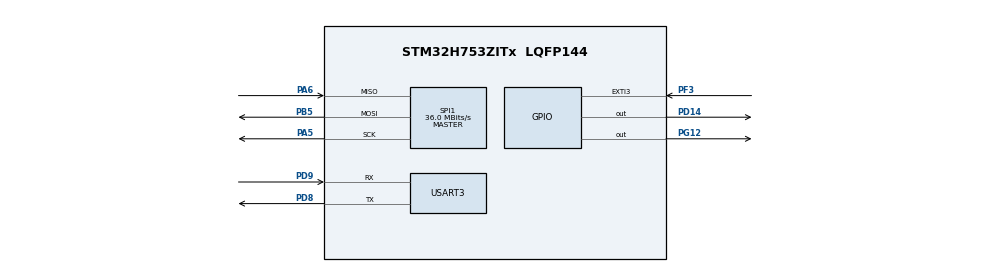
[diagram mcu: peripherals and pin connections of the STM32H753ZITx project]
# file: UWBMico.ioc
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CORTEX_M7.CPU_DCache=Disabled
CORTEX_M7.CPU_ICache=Disabled
CORTEX_M7.MPU_Control=MPU_PRIVILEGED_DEFAULT
CORTEX_M7.default_mode_Activation=1
Mcu.Family=STM32H7
Mcu.Name=STM32H753ZITx
Mcu.Package=LQFP144
NVIC.EXTI3_IRQn=true\:0\:0\:false\:false\:true\:true\:true\:true
NVIC.PriorityGroup=NVIC_PRIORITYGROUP_4
PA13\ (JTMS/SWDIO).Mode=Serial_Wire
PA13\ (JTMS/SWDIO).Signal=DEBUG_JTMS-SWDIO
PA14\ (JTCK/SWCLK).Mode=Serial_Wire
PA14\ (JTCK/SWCLK).Signal=DEBUG_JTCK-SWCLK
PA5.GPIO_Speed=GPIO_SPEED_FREQ_VERY_HIGH
PA5.Mode=Full_Duplex_Master
PA5.Signal=SPI1_SCK
PA6.GPIO_Speed=GPIO_SPEED_FREQ_VERY_HIGH
PA6.Mode=Full_Duplex_Master
PA6.Signal=SPI1_MISO
PB5.GPIO_Speed=GPIO_SPEED_FREQ_VERY_HIGH
PB5.Mode=Full_Duplex_Master
PB5.Signal=SPI1_MOSI
PD14.GPIO_Speed=GPIO_SPEED_FREQ_VERY_HIGH
PD14.PinState=GPIO_PIN_SET
PD14.Signal=GPIO_Output
PD8.Mode=Asynchronous
PD8.Signal=USART3_TX
PD9.Mode=Asynchronous
PD9.Signal=USART3_RX
PF3.GPIO_PuPd=GPIO_PULLDOWN
PF3.Signal=GPXTI3
PG12.GPIO_ModeDefaultOutputPP=GPIO_MODE_OUTPUT_OD
PG12.GPIO_PuPd=GPIO_NOPULL
PG12.GPIO_Speed=GPIO_SPEED_FREQ_VERY_HIGH
PG12.PinState=GPIO_PIN_SET
PG12.Signal=GPIO_Output
ProjectManager.HeapSize=0x200
ProjectManager.StackSize=0x400
ProjectManager.TargetToolchain=CMake
RCC.ADCFreq_Value=144000000
RCC.APB1Freq_Value=120000000
RCC.APB2Freq_Value=120000000
RCC.APB3Freq_Value=120000000
RCC.APB4Freq_Value=120000000
RCC.CortexFreq_Value=480000000
RCC.D1PPRE=RCC_APB3_DIV2
RCC.D2PPRE1=RCC_APB1_DIV2
RCC.D2PPRE2=RCC_APB2_DIV2
RCC.D3PPRE=RCC_APB4_DIV2
RCC.DIVM1=4
RCC.DIVN1=60
RCC.DIVN2=144
RCC.HCLKFreq_Value=240000000
RCC.HPRE=RCC_HCLK_DIV2
RCC.HSE_VALUE=8000000
RCC.PLL2FRACN=0
RCC.PLL3FRACN=0
RCC.PLLFRACN=0
RCC.PWR_Regulator_Voltage_Scale=PWR_REGULATOR_VOLTAGE_SCALE0
RCC.SPI123CLockSelection=RCC_SPI123CLKSOURCE_PLL2
RCC.SYSCLKFreq_VALUE=480000000
RCC.SYSCLKSource=RCC_SYSCLKSOURCE_PLLCLK
RCC.USBFreq_Value=480000000
SPI1.BaudRatePrescaler=SPI_BAUDRATEPRESCALER_4
SPI1.CalculateBaudRate=36.0 MBits/s
SPI1.DataSize=SPI_DATASIZE_8BIT
SPI1.Direction=SPI_DIRECTION_2LINES
SPI1.Mode=SPI_MODE_MASTER
SPI1.VirtualType=VM_MASTER
TIM1.AutoReloadPreload=TIM_AUTORELOAD_PRELOAD_ENABLE
TIM1.Prescaler=239
USART3.VirtualMode-Asynchronous=VM_ASYNC
VP_MEMORYMAP_VS_MEMORYMAP.Mode=CurAppReg
VP_TIM1_VS_ClockSourceINT.Mode=Internal
board=NUCLEO-H753ZI

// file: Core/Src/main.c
/* USER CODE BEGIN Header */
/**
 ******************************************************************************
 * @file           : main.c
 * @brief          : Main program body
 ******************************************************************************
 * @attention
 *
 * Copyright (c) 2026 STMicroelectronics.
 * All rights reserved.
 *
 * This software is licensed under terms that can be found in the LICENSE file
 * in the root directory of this software component.
 * If no LICENSE file comes with this software, it is provided AS-IS.
 *
 ******************************************************************************
 */
/* USER CODE END Header */
#include "main.h"

/* USER CODE BEGIN Includes */
#include "examples_defines.h"
#include "port.h"
#include "deca_probe_interface.h"
#include <deca_device_api.h>
#include <deca_spi.h>
#include <example_selection.h>
#include <port.h>
#include <stdio.h>
#include <meins.h>

/* USER CODE END Includes */

/* USER CODE BEGIN PV */
#if defined(APP_UWB_ROLE_INITIATOR)
static uint8_t tag = 1; //1 = INITIATOR, 0 = RESPONDER
#else
static uint8_t tag = 0; //1 = INITIATOR, 0 = RESPONDER
#endif

dwt_config_t config =
{
    // 5,                  // Channel 5
    // DWT_PLEN_128,       // Preamble length
    // DWT_PAC8,           // PAC size
    // 9,                  // TX preamble code
    // 9,                  // RX preamble code
    // DWT_SFD_IEEE_4A,    // IEEE 802.15.4-2003 SFD
    // DWT_BR_6M8,         // 6.8 Mbps
    // DWT_PHRMODE_STD,    // Standard PHR
    // DWT_PHRRATE_STD,    // Standard PHR rate
    // 129,                // SFD timeout
    // DWT_STS_MODE_OFF,   // STS disabled
    // DWT_STS_LEN_64,     // STS length (unused)
    // DWT_PDOA_M0         // PDOA disabled

    5,                 /* Channel number. */
    DWT_PLEN_128,      /* Preamble length. Used in TX only. */
    DWT_PAC8,          /* Preamble acquisition chunk size. Used in RX only. */
    9,                 /* TX preamble code. Used in TX only. */
    9,                 /* RX preamble code. Used in RX only. */
    1,                 /* 0 to use standard 8 symbol SFD, 1 to use non-standard 8 symbol, 2 for non-standard 16 symbol SFD and 3 for 4z 8 symbol SDF type */
    DWT_BR_6M8,        /* Data rate. */
    DWT_PHRMODE_STD,   /* PHY header mode. */
    DWT_PHRRATE_STD,   /* PHY header rate. */
    (128 + 1 + 8 - 8), /* SFD timeout (preamble length + 1 + SFD length - PAC size). Used in RX only. */
    DWT_STS_MODE_OFF,  /* No STS mode enabled (STS Mode 0) */
    DWT_STS_LEN_64,    /* (STS length  in blocks of 8) - 1*/
    DWT_PDOA_M0        /* PDOA mode off */
};

dwt_txconfig_t txconfig_options = {
    0x34,       /* PG delay. */
    0xfdfdfdfd, /* TX power. */
    0x0         /*PG count*/
};
/* USER CODE END PV */

void SystemClock_Config(void);
void PeriphCommonClock_Config(void);
static void MPU_Config(void);
static void MX_GPIO_Init(void);
static void MX_SPI1_Init(void);
static void MX_TIM1_Init(void);
static void MX_USART3_UART_Init(void);
/* USER CODE BEGIN PFP */
void send_ranging(void);
void receive_ranging(void);
void waitforsysstatus(uint32_t *lo_result, uint32_t *hi_result, uint32_t lo_mask, uint32_t hi_mask);
uint64_t timestamp_to_64bit(uint8_t *timestamp);
/* USER CODE END PFP */

int main(void)
{

  /* MPU Configuration--------------------------------------------------------*/
  MPU_Config();

  /* MCU Configuration--------------------------------------------------------*/

  /* Reset of all peripherals, Initializes the Flash interface and the Systick. */
  LL_APB4_GRP1_EnableClock(LL_APB4_GRP1_PERIPH_SYSCFG);

  /* System interrupt init*/
  NVIC_SetPriorityGrouping(NVIC_PRIORITYGROUP_4);

  /* USER CODE BEGIN Init */
  //build_examples();

  /* USER CODE END Init */

  /* Configure the system clock */
  SystemClock_Config();

  /* Configure the peripherals common clocks */
  PeriphCommonClock_Config();

  /* Initialize all configured peripherals */
  MX_GPIO_Init();
  MX_SPI1_Init();
  MX_TIM1_Init();
  MX_USART3_UART_Init();
  /* USER CODE BEGIN 2 */
  LL_SPI_Enable(SPI1);

  while(!LL_SPI_IsEnabled(SPI1))
  {
    //wait until SPI is enabled
  }
  LL_TIM_EnableCounter(TIM1);
  //LL_SPI_StartMasterTransfer(SPI1); // KI sagt dass der besser in der write und read funktion gestartet wird.
  reset_DWIC();
  Sleep(2U);
  port_set_dw_ic_spi_slowrate();
  if(dwt_probe(&dw3000_probe_interf) != DWT_SUCCESS)
  {
    Error_Handler();
  }
  while (dwt_checkidlerc() == 0)
  {
    //wait until the device is in IDLE_RC state
  }
  if (dwt_initialise(DWT_READ_OTP_ALL) == DWT_ERROR)
{
    Error_Handler();
}

  if (dwt_configure(&config) == DWT_ERROR)
{
    Error_Handler();
}
  dwt_setleds(DWT_LEDS_ENABLE | DWT_LEDS_INIT_BLINK);
  dwt_configuretxrf(&txconfig_options);
  dwt_setrxantennadelay(16385);
  dwt_settxantennadelay(16385);
  dwt_setrxaftertxdelay(240);
  dwt_setrxtimeout(400);
  dwt_setlnapamode(DWT_LNA_ENABLE);
  //port_set_dw_ic_spi_fastrate();
  //example_pointer();

  /* USER CODE END 2 */

  /* Infinite loop */
  /* USER CODE BEGIN WHILE */
  while (1)
  {
    //static uint8_t tx_poll_msg[] = { 0x41, 0x88, 0, 0xCA, 0xDE, 'W', 'A', 'V', 'E', 0xE0, 0, 0 };
    uint16_t time = 12345;
    char buffer[10];

    sprintf(buffer, "%u\r\n", time);

    for (int i = 0; buffer[i] != '\0'; i++)
    {
        while (!LL_USART_IsActiveFlag_TXE_TXFNF(USART3))
        {
            // Wait for transmit FIFO to be ready
        }

        LL_USART_TransmitData8(USART3, buffer[i]);
    }

    while (!LL_USART_IsActiveFlag_TC(USART3))
    {
        // Wait until the last stop bit has been transmitted
    }

    Sleep(1000U);

    // dwt_writesysstatuslo(DWT_INT_TXFRS_BIT_MASK);
    // //Sleep(100U);
    // dwt_writetxdata(sizeof(tx_poll_msg), tx_poll_msg, 0);
    // //Sleep(100U);
    // dwt_writetxfctrl(sizeof(tx_poll_msg), 0, 1);
    // dwt_starttx(DWT_START_TX_IMMEDIATE);
    // Sleep(100U);

    // if(tag==1){
    //   send_ranging();
    // }
    // else{
    //   receive_ranging();
    // }

    /* USER CODE END WHILE */

  }
}

void SystemClock_Config(void)
{
  LL_FLASH_SetLatency(LL_FLASH_LATENCY_4);
  while(LL_FLASH_GetLatency()!= LL_FLASH_LATENCY_4)
  {
  }
  LL_PWR_ConfigSupply(LL_PWR_LDO_SUPPLY);
  LL_PWR_SetRegulVoltageScaling(LL_PWR_REGU_VOLTAGE_SCALE0);
  while (LL_PWR_IsActiveFlag_VOS() == 0)
  {
  }
  LL_RCC_HSI_Enable();

   /* Wait till HSI is ready */
  while(LL_RCC_HSI_IsReady() != 1)
  {

  }
  LL_RCC_HSI_SetCalibTrimming(64);
  LL_RCC_HSI_SetDivider(LL_RCC_HSI_DIV1);
  LL_RCC_PLL_SetSource(LL_RCC_PLLSOURCE_HSI);
  LL_RCC_PLL1P_Enable();
  LL_RCC_PLL1R_Enable();
  LL_RCC_PLL1_SetVCOInputRange(LL_RCC_PLLINPUTRANGE_8_16);
  LL_RCC_PLL1_SetVCOOutputRange(LL_RCC_PLLVCORANGE_WIDE);
  LL_RCC_PLL1_SetM(4);
  LL_RCC_PLL1_SetN(60);
  LL_RCC_PLL1_SetP(2);
  LL_RCC_PLL1_SetQ(2);
  LL_RCC_PLL1_SetR(2);
  LL_RCC_PLL1_Enable();

   /* Wait till PLL is ready */
  while(LL_RCC_PLL1_IsReady() != 1)
  {
  }

   /* Intermediate AHB prescaler 2 when target frequency clock is higher than 80 MHz */
   LL_RCC_SetAHBPrescaler(LL_RCC_AHB_DIV_2);

  LL_RCC_SetSysClkSource(LL_RCC_SYS_CLKSOURCE_PLL1);

   /* Wait till System clock is ready */
  while(LL_RCC_GetSysClkSource() != LL_RCC_SYS_CLKSOURCE_STATUS_PLL1)
  {

  }
  LL_RCC_SetSysPrescaler(LL_RCC_SYSCLK_DIV_1);
  LL_RCC_SetAHBPrescaler(LL_RCC_AHB_DIV_2);
  LL_RCC_SetAPB1Prescaler(LL_RCC_APB1_DIV_2);
  LL_RCC_SetAPB2Prescaler(LL_RCC_APB2_DIV_2);
  LL_RCC_SetAPB3Prescaler(LL_RCC_APB3_DIV_2);
  LL_RCC_SetAPB4Prescaler(LL_RCC_APB4_DIV_2);

  LL_Init1msTick(480000000);

  LL_SetSystemCoreClock(480000000);
}

void PeriphCommonClock_Config(void)
{
  LL_RCC_PLL2P_Enable();
  LL_RCC_PLL2_SetVCOInputRange(LL_RCC_PLLINPUTRANGE_2_4);
  LL_RCC_PLL2_SetVCOOutputRange(LL_RCC_PLLVCORANGE_WIDE);
  LL_RCC_PLL2_SetM(32);
  LL_RCC_PLL2_SetN(144);
  LL_RCC_PLL2_SetP(2);
  LL_RCC_PLL2_SetQ(2);
  LL_RCC_PLL2_SetR(2);
  LL_RCC_PLL2_Enable();

   /* Wait till PLL is ready */
  while(LL_RCC_PLL2_IsReady() != 1)
  {
  }

}

static void MX_SPI1_Init(void)
{

  LL_SPI_InitTypeDef SPI_InitStruct = {0};

  LL_GPIO_InitTypeDef GPIO_InitStruct = {0};

  LL_RCC_SetSPIClockSource(LL_RCC_SPI123_CLKSOURCE_PLL2P);

  /* Peripheral clock enable */
  LL_APB2_GRP1_EnableClock(LL_APB2_GRP1_PERIPH_SPI1);

  LL_AHB4_GRP1_EnableClock(LL_AHB4_GRP1_PERIPH_GPIOA);
  LL_AHB4_GRP1_EnableClock(LL_AHB4_GRP1_PERIPH_GPIOB);
  /**SPI1 GPIO Configuration
  PA5   ------> SPI1_SCK
  PA6   ------> SPI1_MISO
  PB5   ------> SPI1_MOSI
  */
  GPIO_InitStruct.Pin = LL_GPIO_PIN_5|LL_GPIO_PIN_6;
  GPIO_InitStruct.Mode = LL_GPIO_MODE_ALTERNATE;
  GPIO_InitStruct.Speed = LL_GPIO_SPEED_FREQ_VERY_HIGH;
  GPIO_InitStruct.OutputType = LL_GPIO_OUTPUT_PUSHPULL;
  GPIO_InitStruct.Pull = LL_GPIO_PULL_NO;
  GPIO_InitStruct.Alternate = LL_GPIO_AF_5;
  LL_GPIO_Init(GPIOA, &GPIO_InitStruct);

  GPIO_InitStruct.Pin = LL_GPIO_PIN_5;
  GPIO_InitStruct.Mode = LL_GPIO_MODE_ALTERNATE;
  GPIO_InitStruct.Speed = LL_GPIO_SPEED_FREQ_VERY_HIGH;
  GPIO_InitStruct.OutputType = LL_GPIO_OUTPUT_PUSHPULL;
  GPIO_InitStruct.Pull = LL_GPIO_PULL_NO;
  GPIO_InitStruct.Alternate = LL_GPIO_AF_5;
  LL_GPIO_Init(GPIOB, &GPIO_InitStruct);

  /* SPI1 parameter configuration*/
  SPI_InitStruct.TransferDirection = LL_SPI_FULL_DUPLEX;
  SPI_InitStruct.Mode = LL_SPI_MODE_MASTER;
  SPI_InitStruct.DataWidth = LL_SPI_DATAWIDTH_8BIT;
  SPI_InitStruct.ClockPolarity = LL_SPI_POLARITY_LOW;
  SPI_InitStruct.ClockPhase = LL_SPI_PHASE_1EDGE;
  SPI_InitStruct.NSS = LL_SPI_NSS_SOFT;
  SPI_InitStruct.BaudRate = LL_SPI_BAUDRATEPRESCALER_DIV4;
  SPI_InitStruct.BitOrder = LL_SPI_MSB_FIRST;
  SPI_InitStruct.CRCCalculation = LL_SPI_CRCCALCULATION_DISABLE;
  SPI_InitStruct.CRCPoly = 0x0;
  LL_SPI_Init(SPI1, &SPI_InitStruct);
  LL_SPI_SetStandard(SPI1, LL_SPI_PROTOCOL_MOTOROLA);
  LL_SPI_SetFIFOThreshold(SPI1, LL_SPI_FIFO_TH_01DATA);
  LL_SPI_EnableNSSPulseMgt(SPI1);

}

static void MX_TIM1_Init(void)
{

  LL_TIM_InitTypeDef TIM_InitStruct = {0};

  /* Peripheral clock enable */
  LL_APB2_GRP1_EnableClock(LL_APB2_GRP1_PERIPH_TIM1);

  TIM_InitStruct.Prescaler = 239;
  TIM_InitStruct.CounterMode = LL_TIM_COUNTERMODE_UP;
  TIM_InitStruct.Autoreload = 65535;
  TIM_InitStruct.ClockDivision = LL_TIM_CLOCKDIVISION_DIV1;
  TIM_InitStruct.RepetitionCounter = 0;
  LL_TIM_Init(TIM1, &TIM_InitStruct);
  LL_TIM_EnableARRPreload(TIM1);
  LL_TIM_SetClockSource(TIM1, LL_TIM_CLOCKSOURCE_INTERNAL);
  LL_TIM_SetTriggerOutput(TIM1, LL_TIM_TRGO_RESET);
  LL_TIM_SetTriggerOutput2(TIM1, LL_TIM_TRGO2_RESET);
  LL_TIM_DisableMasterSlaveMode(TIM1);

}

static void MX_USART3_UART_Init(void)
{

  LL_USART_InitTypeDef USART_InitStruct = {0};

  LL_GPIO_InitTypeDef GPIO_InitStruct = {0};

  LL_RCC_SetUSARTClockSource(LL_RCC_USART234578_CLKSOURCE_PCLK1);

  /* Peripheral clock enable */
  LL_APB1_GRP1_EnableClock(LL_APB1_GRP1_PERIPH_USART3);

  LL_AHB4_GRP1_EnableClock(LL_AHB4_GRP1_PERIPH_GPIOD);
  /**USART3 GPIO Configuration
  PD8   ------> USART3_TX
  PD9   ------> USART3_RX
  */
  GPIO_InitStruct.Pin = LL_GPIO_PIN_8|LL_GPIO_PIN_9;
  GPIO_InitStruct.Mode = LL_GPIO_MODE_ALTERNATE;
  GPIO_InitStruct.Speed = LL_GPIO_SPEED_FREQ_LOW;
  GPIO_InitStruct.OutputType = LL_GPIO_OUTPUT_PUSHPULL;
  GPIO_InitStruct.Pull = LL_GPIO_PULL_NO;
  GPIO_InitStruct.Alternate = LL_GPIO_AF_7;
  LL_GPIO_Init(GPIOD, &GPIO_InitStruct);

  USART_InitStruct.PrescalerValue = LL_USART_PRESCALER_DIV1;
  USART_InitStruct.BaudRate = 115200;
  USART_InitStruct.DataWidth = LL_USART_DATAWIDTH_8B;
  USART_InitStruct.StopBits = LL_USART_STOPBITS_1;
  USART_InitStruct.Parity = LL_USART_PARITY_NONE;
  USART_InitStruct.TransferDirection = LL_USART_DIRECTION_TX_RX;
  USART_InitStruct.HardwareFlowControl = LL_USART_HWCONTROL_NONE;
  USART_InitStruct.OverSampling = LL_USART_OVERSAMPLING_16;
  LL_USART_Init(USART3, &USART_InitStruct);
  LL_USART_SetTXFIFOThreshold(USART3, LL_USART_FIFOTHRESHOLD_1_8);
  LL_USART_SetRXFIFOThreshold(USART3, LL_USART_FIFOTHRESHOLD_1_8);
  LL_USART_DisableFIFO(USART3);
  LL_USART_ConfigAsyncMode(USART3);

  LL_USART_Enable(USART3);

  /* Polling USART3 initialisation */
  while((!(LL_USART_IsActiveFlag_TEACK(USART3))) || (!(LL_USART_IsActiveFlag_REACK(USART3))))
  {
  }

}

static void MX_GPIO_Init(void)
{
  LL_EXTI_InitTypeDef EXTI_InitStruct = {0};
  LL_GPIO_InitTypeDef GPIO_InitStruct = {0};

  /* GPIO Ports Clock Enable */
  LL_AHB4_GRP1_EnableClock(LL_AHB4_GRP1_PERIPH_GPIOF);
  LL_AHB4_GRP1_EnableClock(LL_AHB4_GRP1_PERIPH_GPIOA);
  LL_AHB4_GRP1_EnableClock(LL_AHB4_GRP1_PERIPH_GPIOD);
  LL_AHB4_GRP1_EnableClock(LL_AHB4_GRP1_PERIPH_GPIOG);
  LL_AHB4_GRP1_EnableClock(LL_AHB4_GRP1_PERIPH_GPIOB);

  /**/
  LL_GPIO_SetOutputPin(GPIOD, LL_GPIO_PIN_14);

  /**/
  LL_GPIO_SetOutputPin(GPIOG, LL_GPIO_PIN_12);

  /**/
  LL_SYSCFG_SetEXTISource(LL_SYSCFG_EXTI_PORTF, LL_SYSCFG_EXTI_LINE3);

  /**/
  EXTI_InitStruct.Line_0_31 = LL_EXTI_LINE_3;
  EXTI_InitStruct.Line_32_63 = LL_EXTI_LINE_NONE;
  EXTI_InitStruct.Line_64_95 = LL_EXTI_LINE_NONE;
  EXTI_InitStruct.LineCommand = ENABLE;
  EXTI_InitStruct.Mode = LL_EXTI_MODE_IT;
  EXTI_InitStruct.Trigger = LL_EXTI_TRIGGER_RISING;
  LL_EXTI_Init(&EXTI_InitStruct);

  /**/
  LL_GPIO_SetPinPull(GPIOF, LL_GPIO_PIN_3, LL_GPIO_PULL_DOWN);

  /**/
  LL_GPIO_SetPinMode(GPIOF, LL_GPIO_PIN_3, LL_GPIO_MODE_INPUT);

  /**/
  GPIO_InitStruct.Pin = LL_GPIO_PIN_14;
  GPIO_InitStruct.Mode = LL_GPIO_MODE_OUTPUT;
  GPIO_InitStruct.Speed = LL_GPIO_SPEED_FREQ_VERY_HIGH;
  GPIO_InitStruct.OutputType = LL_GPIO_OUTPUT_PUSHPULL;
  GPIO_InitStruct.Pull = LL_GPIO_PULL_NO;
  LL_GPIO_Init(GPIOD, &GPIO_InitStruct);

  /**/
  GPIO_InitStruct.Pin = LL_GPIO_PIN_12;
  GPIO_InitStruct.Mode = LL_GPIO_MODE_OUTPUT;
  GPIO_InitStruct.Speed = LL_GPIO_SPEED_FREQ_VERY_HIGH;
  GPIO_InitStruct.OutputType = LL_GPIO_OUTPUT_OPENDRAIN;
  GPIO_InitStruct.Pull = LL_GPIO_PULL_NO;
  LL_GPIO_Init(GPIOG, &GPIO_InitStruct);

  /* EXTI interrupt init*/
  NVIC_SetPriority(EXTI3_IRQn, NVIC_EncodePriority(NVIC_GetPriorityGrouping(),0, 0));
  NVIC_EnableIRQ(EXTI3_IRQn);

}

 /* MPU Configuration */

void MPU_Config(void)
{

  /* Disables the MPU */
  LL_MPU_Disable();

  /** Initializes and configures the Region and the memory to be protected
  */
  LL_MPU_ConfigRegion(LL_MPU_REGION_NUMBER0, 0x87, 0x0, LL_MPU_REGION_SIZE_4GB|LL_MPU_TEX_LEVEL0|LL_MPU_REGION_NO_ACCESS|LL_MPU_INSTRUCTION_ACCESS_DISABLE|LL_MPU_ACCESS_SHAREABLE|LL_MPU_ACCESS_NOT_CACHEABLE|LL_MPU_ACCESS_NOT_BUFFERABLE);
  /* Enables the MPU */
  LL_MPU_Enable(LL_MPU_CTRL_PRIVILEGED_DEFAULT);

}

void Error_Handler(void)
{
  __disable_irq();
  while (1)
  {
  }
}
